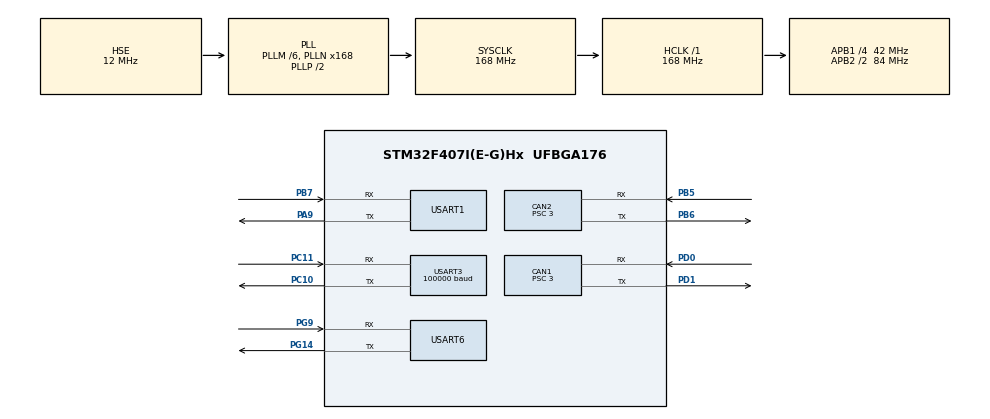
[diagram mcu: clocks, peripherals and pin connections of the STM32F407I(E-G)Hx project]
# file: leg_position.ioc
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CAN1.BS1=CAN_BS1_10TQ
CAN1.BS2=CAN_BS2_3TQ
CAN1.CalculateBaudRate=1000000
CAN1.CalculateTimeBit=1000
CAN1.CalculateTimeQuantum=71.42857142857143
CAN1.Prescaler=3
CAN2.BS1=CAN_BS1_10TQ
CAN2.BS2=CAN_BS2_3TQ
CAN2.CalculateBaudRate=1000000
CAN2.CalculateTimeBit=1000
CAN2.CalculateTimeQuantum=71.42857142857143
CAN2.Prescaler=3
Dma.Request0=USART1_RX
Dma.Request1=USART1_TX
Dma.Request2=USART3_RX
Dma.Request3=USART6_RX
Dma.Request4=USART6_TX
Dma.USART1_RX.0.Direction=DMA_PERIPH_TO_MEMORY
Dma.USART1_RX.0.FIFOMode=DMA_FIFOMODE_DISABLE
Dma.USART1_RX.0.Instance=DMA2_Stream2
Dma.USART1_RX.0.MemDataAlignment=DMA_MDATAALIGN_BYTE
Dma.USART1_RX.0.MemInc=DMA_MINC_ENABLE
Dma.USART1_RX.0.Mode=DMA_NORMAL
Dma.USART1_RX.0.PeriphDataAlignment=DMA_PDATAALIGN_BYTE
Dma.USART1_RX.0.PeriphInc=DMA_PINC_DISABLE
Dma.USART1_RX.0.Priority=DMA_PRIORITY_LOW
Dma.USART1_TX.1.Direction=DMA_MEMORY_TO_PERIPH
Dma.USART1_TX.1.FIFOMode=DMA_FIFOMODE_DISABLE
Dma.USART1_TX.1.Instance=DMA2_Stream7
Dma.USART1_TX.1.MemDataAlignment=DMA_MDATAALIGN_BYTE
Dma.USART1_TX.1.MemInc=DMA_MINC_ENABLE
Dma.USART1_TX.1.Mode=DMA_NORMAL
Dma.USART1_TX.1.PeriphDataAlignment=DMA_PDATAALIGN_BYTE
Dma.USART1_TX.1.PeriphInc=DMA_PINC_DISABLE
Dma.USART1_TX.1.Priority=DMA_PRIORITY_LOW
Dma.USART3_RX.2.Direction=DMA_PERIPH_TO_MEMORY
Dma.USART3_RX.2.FIFOMode=DMA_FIFOMODE_DISABLE
Dma.USART3_RX.2.Instance=DMA1_Stream1
Dma.USART3_RX.2.MemDataAlignment=DMA_MDATAALIGN_BYTE
Dma.USART3_RX.2.MemInc=DMA_MINC_ENABLE
Dma.USART3_RX.2.Mode=DMA_NORMAL
Dma.USART3_RX.2.PeriphDataAlignment=DMA_PDATAALIGN_BYTE
Dma.USART3_RX.2.PeriphInc=DMA_PINC_DISABLE
Dma.USART3_RX.2.Priority=DMA_PRIORITY_LOW
Dma.USART6_RX.3.Direction=DMA_PERIPH_TO_MEMORY
Dma.USART6_RX.3.FIFOMode=DMA_FIFOMODE_DISABLE
Dma.USART6_RX.3.Instance=DMA2_Stream1
Dma.USART6_RX.3.MemDataAlignment=DMA_MDATAALIGN_BYTE
Dma.USART6_RX.3.MemInc=DMA_MINC_ENABLE
Dma.USART6_RX.3.Mode=DMA_NORMAL
Dma.USART6_RX.3.PeriphDataAlignment=DMA_PDATAALIGN_BYTE
Dma.USART6_RX.3.PeriphInc=DMA_PINC_DISABLE
Dma.USART6_RX.3.Priority=DMA_PRIORITY_LOW
Dma.USART6_TX.4.Direction=DMA_MEMORY_TO_PERIPH
Dma.USART6_TX.4.FIFOMode=DMA_FIFOMODE_DISABLE
Dma.USART6_TX.4.Instance=DMA2_Stream6
Dma.USART6_TX.4.MemDataAlignment=DMA_MDATAALIGN_BYTE
Dma.USART6_TX.4.MemInc=DMA_MINC_ENABLE
Dma.USART6_TX.4.Mode=DMA_NORMAL
Dma.USART6_TX.4.PeriphDataAlignment=DMA_PDATAALIGN_BYTE
Dma.USART6_TX.4.PeriphInc=DMA_PINC_DISABLE
Dma.USART6_TX.4.Priority=DMA_PRIORITY_LOW
Mcu.Family=STM32F4
Mcu.Name=STM32F407I(E-G)Hx
Mcu.Package=UFBGA176
NVIC.CAN1_RX0_IRQn=true\:0\:0\:false\:false\:true\:true\:true\:true
NVIC.CAN2_RX0_IRQn=true\:0\:0\:false\:false\:true\:true\:true\:true
NVIC.DMA1_Stream1_IRQn=true\:0\:0\:false\:false\:true\:false\:true\:true
NVIC.DMA2_Stream1_IRQn=true\:0\:0\:false\:false\:true\:false\:true\:true
NVIC.DMA2_Stream2_IRQn=true\:0\:0\:false\:false\:true\:false\:true\:true
NVIC.DMA2_Stream6_IRQn=true\:0\:0\:false\:false\:true\:false\:true\:true
NVIC.DMA2_Stream7_IRQn=true\:0\:0\:false\:false\:true\:false\:true\:true
NVIC.PriorityGroup=NVIC_PRIORITYGROUP_4
NVIC.USART1_IRQn=true\:0\:0\:false\:false\:true\:false\:true\:true
NVIC.USART3_IRQn=true\:0\:0\:false\:false\:true\:true\:true\:true
NVIC.USART6_IRQn=true\:0\:0\:false\:false\:true\:false\:true\:true
PA13.Mode=Serial_Wire
PA13.Signal=SYS_JTMS-SWDIO
PA14.Mode=Serial_Wire
PA14.Signal=SYS_JTCK-SWCLK
PA9.Mode=Asynchronous
PA9.Signal=USART1_TX
PB5.Mode=CAN_Activate
PB5.Signal=CAN2_RX
PB6.Mode=CAN_Activate
PB6.Signal=CAN2_TX
PB7.Mode=Asynchronous
PB7.Signal=USART1_RX
PC10.Mode=Asynchronous
PC10.Signal=USART3_TX
PC11.Mode=Asynchronous
PC11.Signal=USART3_RX
PD0.Mode=CAN_Activate
PD0.Signal=CAN1_RX
PD1.Mode=CAN_Activate
PD1.Signal=CAN1_TX
PG14.Mode=Asynchronous
PG14.Signal=USART6_TX
PG9.Mode=Asynchronous
PG9.Signal=USART6_RX
PH0-OSC_IN.Mode=HSE-External-Oscillator
PH0-OSC_IN.Signal=RCC_OSC_IN
PH1-OSC_OUT.Mode=HSE-External-Oscillator
PH1-OSC_OUT.Signal=RCC_OSC_OUT
ProjectManager.HeapSize=0x200
ProjectManager.StackSize=0x400
ProjectManager.TargetToolchain=MDK-ARM V5.32
RCC.48MHZClocksFreq_Value=84000000
RCC.AHBFreq_Value=168000000
RCC.APB1CLKDivider=RCC_HCLK_DIV4
RCC.APB1Freq_Value=42000000
RCC.APB1TimFreq_Value=84000000
RCC.APB2CLKDivider=RCC_HCLK_DIV2
RCC.APB2Freq_Value=84000000
RCC.APB2TimFreq_Value=168000000
RCC.CortexFreq_Value=168000000
RCC.HCLKFreq_Value=168000000
RCC.HSE_VALUE=12000000
RCC.HSI_VALUE=16000000
RCC.LSE_VALUE=32768
RCC.PLLM=6
RCC.PLLN=168
RCC.PLLSourceVirtual=RCC_PLLSOURCE_HSE
RCC.SYSCLKFreq_VALUE=168000000
RCC.SYSCLKSource=RCC_SYSCLKSOURCE_PLLCLK
RCC.VCOOutputFreq_Value=336000000
USART1.VirtualMode=VM_ASYNC
USART3.BaudRate=100000
USART3.VirtualMode=VM_ASYNC
USART6.VirtualMode=VM_ASYNC
board=custom

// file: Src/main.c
/* USER CODE BEGIN Header */
/**
  ******************************************************************************
  * @file           : main.c
  * @brief          : Main program body
  ******************************************************************************
  * @attention
  *
  * Copyright (c) 2024 STMicroelectronics.
  * All rights reserved.
  *
  * This software is licensed under terms that can be found in the LICENSE file
  * in the root directory of this software component.
  * If no LICENSE file comes with this software, it is provided AS-IS.
  *
  ******************************************************************************
  */
/* USER CODE END Header */
#include "main.h"
#include "can.h"
#include "dma.h"
#include "usart.h"
#include "gpio.h"

/* USER CODE BEGIN Includes */
#include "bsp_can.h"
#include "bsp_usart.h"
#include "CAN_receive.h"
#include "leg_task.h"
/* USER CODE END Includes */

/* USER CODE BEGIN PTD */
#include <stdio.h>
#include <string.h>
#include <stdlib.h>
/* USER CODE END PTD */

/* USER CODE BEGIN PV */
char len[50];

/* USER CODE END PV */

void SystemClock_Config(void);

int main(void)
{

  /* MCU Configuration--------------------------------------------------------*/

  /* Reset of all peripherals, Initializes the Flash interface and the Systick. */
  HAL_Init();

  /* Configure the system clock */
  SystemClock_Config();

  /* Initialize all configured peripherals */
  MX_GPIO_Init();
  MX_DMA_Init();
  MX_CAN1_Init();
  MX_CAN2_Init();
  MX_USART1_UART_Init();
  MX_USART3_UART_Init();
  MX_USART6_UART_Init();
  /* USER CODE BEGIN 2 */
  can_filter_init();
  dma_init();
   // 定义并初始化leg_control_t结构体
  leg_control_t motor_control;
  motor_init(&motor_control);

  /* USER CODE END 2 */

  /* Infinite loop */
  while (1)
  {

    /* USER CODE BEGIN 3 */
      int16_t output = 0;
      sprintf(len, "%d", output);
      HAL_UART_Transmit(&huart6,(uint8_t *)len,strlen(len),1);
      HAL_UART_Transmit(&huart6,(uint8_t *)"\r\n",2,1);
      motor_control_send(&motor_control);
      HAL_Delay(2);
  }
  /* USER CODE END 3 */
}

void SystemClock_Config(void)
{
  RCC_OscInitTypeDef RCC_OscInitStruct = {0};
  RCC_ClkInitTypeDef RCC_ClkInitStruct = {0};

  /** Configure the main internal regulator output voltage
  */
  __HAL_RCC_PWR_CLK_ENABLE();
  __HAL_PWR_VOLTAGESCALING_CONFIG(PWR_REGULATOR_VOLTAGE_SCALE1);

  /** Initializes the RCC Oscillators according to the specified parameters
  * in the RCC_OscInitTypeDef structure.
  */
  RCC_OscInitStruct.OscillatorType = RCC_OSCILLATORTYPE_HSE;
  RCC_OscInitStruct.HSEState = RCC_HSE_ON;
  RCC_OscInitStruct.PLL.PLLState = RCC_PLL_ON;
  RCC_OscInitStruct.PLL.PLLSource = RCC_PLLSOURCE_HSE;
  RCC_OscInitStruct.PLL.PLLM = 6;
  RCC_OscInitStruct.PLL.PLLN = 168;
  RCC_OscInitStruct.PLL.PLLP = RCC_PLLP_DIV2;
  RCC_OscInitStruct.PLL.PLLQ = 4;
  if (HAL_RCC_OscConfig(&RCC_OscInitStruct) != HAL_OK)
  {
    Error_Handler();
  }

  /** Initializes the CPU, AHB and APB buses clocks
  */
  RCC_ClkInitStruct.ClockType = RCC_CLOCKTYPE_HCLK|RCC_CLOCKTYPE_SYSCLK
                              |RCC_CLOCKTYPE_PCLK1|RCC_CLOCKTYPE_PCLK2;
  RCC_ClkInitStruct.SYSCLKSource = RCC_SYSCLKSOURCE_PLLCLK;
  RCC_ClkInitStruct.AHBCLKDivider = RCC_SYSCLK_DIV1;
  RCC_ClkInitStruct.APB1CLKDivider = RCC_HCLK_DIV4;
  RCC_ClkInitStruct.APB2CLKDivider = RCC_HCLK_DIV2;

  if (HAL_RCC_ClockConfig(&RCC_ClkInitStruct, FLASH_LATENCY_5) != HAL_OK)
  {
    Error_Handler();
  }
}

void Error_Handler(void)
{
}
